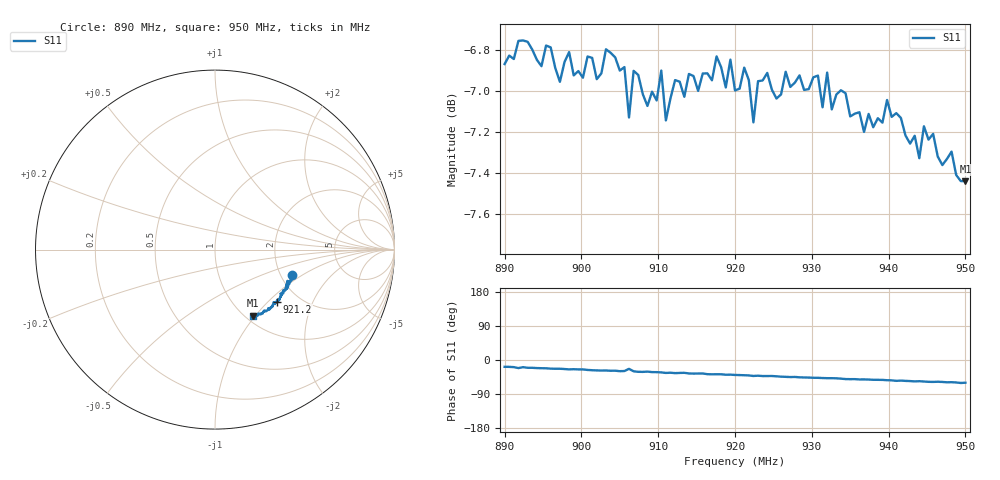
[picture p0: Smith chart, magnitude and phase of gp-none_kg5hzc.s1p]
# HZ S RI R 50
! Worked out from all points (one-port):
!   101 points, 890 MHz to 950 MHz, reference 50 ohm
!   lowest |S11| = -7.4 dB at 950 MHz (marker M1), VSWR 2.48, Z = 54.3 - j48.7 ohm
!   |S11| at or under -10 dB: nowhere
!   S11 on the Smith chart (normalised r, x): 890 MHz: 2.32, -0.82; 921.2 MHz: 1.55, -1.14; 950 MHz: 1.09, -0.97
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8.9e8  0.4312 -0.1401
8.912e8  0.4304 -0.1467
8.918e8  0.428 -0.1668
8.924e8  0.4346 -0.149
8.93e8  0.4299 -0.1612
8.978e8  0.4151 -0.1837
9.002e8  0.4083 -0.1892
9.05e8  0.3932 -0.2224
9.056e8  0.3954 -0.2203
9.062e8  0.4041 -0.1742
9.068e8  0.3916 -0.2252
9.074e8  0.3855 -0.2334
9.086e8  0.3811 -0.2256
9.104e8  0.3802 -0.2441
9.11e8  0.3636 -0.2466
9.128e8  0.3716 -0.252
9.176e8  0.361 -0.2775
9.188e8  0.3483 -0.281
9.194e8  0.355 -0.2838
9.2e8  0.345 -0.2838
9.212e8  0.3456 -0.2921
9.224e8  0.3254 -0.2945
9.23e8  0.3369 -0.297
9.278e8  0.3188 -0.3158
9.35e8  0.2797 -0.3401
9.398e8  0.2653 -0.3565
9.428e8  0.2447 -0.3581
9.5e8  0.2128 -0.3675
